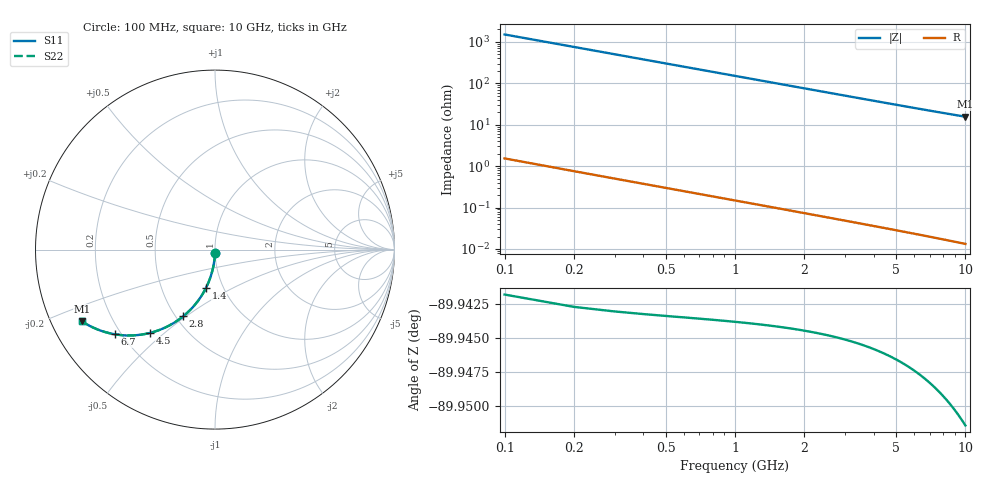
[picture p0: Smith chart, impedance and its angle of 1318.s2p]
# Hz S RI R 50.00
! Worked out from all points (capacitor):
!   100 points, 100 MHz to 10 GHz, reference 50 ohm
!   read as one part in shunt: C = 1.05 pF near 100 MHz
!   lowest |Z| = 15.6 ohm at 10 GHz (marker M1)
!   S11 on the Smith chart (normalised r, x): 100 MHz: 1.00, -0.03; 1.4 GHz: 0.83, -0.37; 2.8 GHz: 0.54, -0.49; 4.5 GHz: 0.32, -0.45; 6.7 GHz: 0.18, -0.36; 10 GHz: 0.09, -0.25
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1e8  -0.000213 -0.0162  0.9996 -0.0169  0.9996 -0.0169  -0.000213 -0.0162
2e8  -0.00105 -0.0323  0.9988 -0.0337  0.9988 -0.0337  -0.00105 -0.0323
3e8  -0.00243 -0.0484  0.9974 -0.0506  0.9974 -0.0506  -0.00243 -0.0484
4e8  -0.00434 -0.0645  0.9955 -0.0673  0.9955 -0.0673  -0.00434 -0.0645
5e8  -0.00679 -0.0804  0.993 -0.0839  0.993 -0.0839  -0.00679 -0.0804
6e8  -0.00977 -0.0962  0.9901 -0.1004  0.9901 -0.1004  -0.00977 -0.0962
7e8  -0.0133 -0.1118  0.9866 -0.1167  0.9866 -0.1167  -0.0133 -0.1118
9e8  -0.0218 -0.1425  0.9781 -0.1488  0.9781 -0.1488  -0.0218 -0.1425
1.1e9  -0.0322 -0.1723  0.9677 -0.18  0.9677 -0.18  -0.0322 -0.1723
1.4e9  -0.0511 -0.215  0.9487 -0.2248  0.9487 -0.2248  -0.0511 -0.215
1.8e9  -0.0818 -0.2674  0.918 -0.2801  0.918 -0.2801  -0.0818 -0.2674
2.3e9  -0.1271 -0.3246  0.8726 -0.3409  0.8726 -0.3409  -0.1271 -0.3246
2.8e9  -0.1777 -0.372  0.8219 -0.3918  0.8219 -0.3918  -0.1777 -0.372
3.4e9  -0.2421 -0.4159  0.7575 -0.44  0.7575 -0.44  -0.2421 -0.4159
3.9e9  -0.2963 -0.4424  0.7031 -0.4701  0.7031 -0.4701  -0.2963 -0.4424
4.5e9  -0.3598 -0.4635  0.6395 -0.4956  0.6395 -0.4956  -0.3598 -0.4635
5.1e9  -0.42 -0.4749  0.5792 -0.5114  0.5792 -0.5114  -0.42 -0.4749
5.8e9  -0.4845 -0.4784  0.5145 -0.5201  0.5145 -0.5201  -0.4845 -0.4784
6.7e9  -0.5576 -0.4719  0.441 -0.5203  0.441 -0.5203  -0.5576 -0.4719
7.5e9  -0.6134 -0.459  0.3849 -0.5135  0.3849 -0.5135  -0.6134 -0.459
8.4e9  -0.6669 -0.4398  0.3311 -0.5011  0.3311 -0.5011  -0.6669 -0.4398
1e10  -0.7414 -0.3996  0.2557 -0.4735  0.2557 -0.4735  -0.7414 -0.3996
